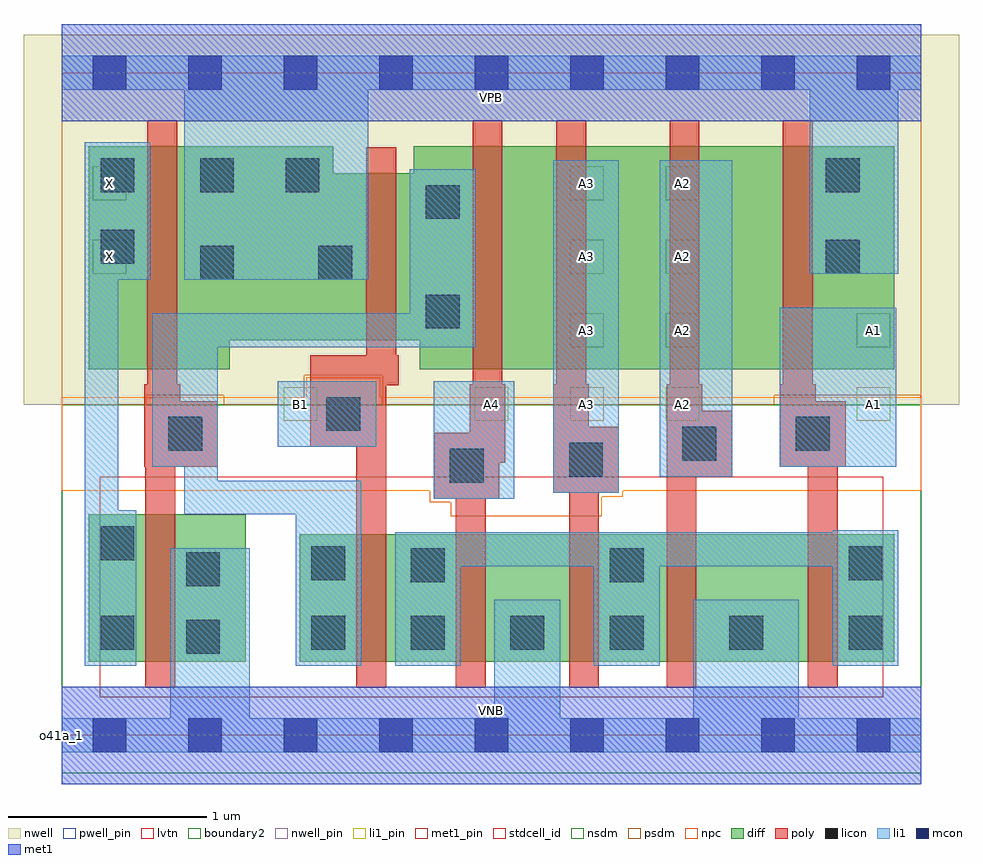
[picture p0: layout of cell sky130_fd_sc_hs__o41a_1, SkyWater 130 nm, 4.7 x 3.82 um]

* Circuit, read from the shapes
.subckt sky130_fd_sc_hs__o41a_1 A1 A2 A3 A4 B1 VGND VNB VPB VPWR X
XM1 VGND n1 X VNB sky130_fd_pr__nfet_01v8_lvt w=0.74 l=0.15
XM2 n2 B1 n1 VNB sky130_fd_pr__nfet_01v8_lvt w=0.64 l=0.15
XM3 VGND A4 n2 VNB sky130_fd_pr__nfet_01v8_lvt w=0.64 l=0.15
XM4 n2 A3 VGND VNB sky130_fd_pr__nfet_01v8_lvt w=0.64 l=0.15
XM5 VGND A2 n2 VNB sky130_fd_pr__nfet_01v8_lvt w=0.64 l=0.15
XM6 n2 A1 VGND VNB sky130_fd_pr__nfet_01v8_lvt w=0.64 l=0.15
XM7 VPWR n1 X VPB sky130_fd_pr__pfet_01v8 w=1.12 l=0.15
XM8 n1 B1 VPWR VPB sky130_fd_pr__pfet_01v8 w=0.84 l=0.15
XM9 n3 A4 n1 VPB sky130_fd_pr__pfet_01v8 w=1.12 l=0.15
XM10 n4 A3 n3 VPB sky130_fd_pr__pfet_01v8 w=1.12 l=0.15
XM11 n5 A2 n4 VPB sky130_fd_pr__pfet_01v8 w=1.12 l=0.15
XM12 VPWR A1 n5 VPB sky130_fd_pr__pfet_01v8 w=1.12 l=0.15
.ends

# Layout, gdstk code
import gdstk
lib = gdstk.Library(unit=1e-6, precision=1e-09)
def R(c, l, rs):  # rectangles x0, y0, x1, y1
    for r in rs: c.add(gdstk.rectangle(r[:2], r[2:], *l))
def A(c, l, x, y, w, h, nx, ny, dx, dy):  # array of equal rectangles
    R(c, l, [(x+i*dx, y+j*dy, x+i*dx+w, y+j*dy+h) for i in range(nx) for j in range(ny)])
def P(c, l, *ps):  # polygons
    for p in ps: c.add(gdstk.Polygon(p, *l))
nwell_pin = (64, 16)
nwell = (64, 20)
diff = (65, 20)
poly = (66, 20)
licon = (66, 44)
li1_pin = (67, 16)
li1 = (67, 20)
mcon = (67, 44)
met1_pin = (68, 16)
met1 = (68, 20)
stdcell_id = (81, 4)
nsdm = (93, 44)
psdm = (94, 20)
npc = (95, 20)
pwell_pin = (122, 16)
lvtn = (125, 44)
boundary2 = (236, 0)

sky130_fd_sc_hs__o41a_1 = lib.new_cell('sky130_fd_sc_hs__o41a_1')
R(sky130_fd_sc_hs__o41a_1, nwell_pin, [(0,3.085,4.32,3.33)])
R(sky130_fd_sc_hs__o41a_1, nwell, [(-0.19,1.66,4.51,3.52)])
R(sky130_fd_sc_hs__o41a_1, diff, [(0.135,0.37,0.925,1.11), (1.195,0.37,4.185,1.01)])
P(sky130_fd_sc_hs__o41a_1, diff, [(4.185,2.96),(1.77,2.96),(1.77,2.825),(1.365,2.825),(1.365,2.96),(0.135,2.96),(0.135,1.84),(0.845,1.84),(0.845,1.985),(1.8,1.985),(1.8,1.84),(4.185,1.84)])
P(sky130_fd_sc_hs__o41a_1, poly, [(3.94,1.68),(3.79,1.68),(3.79,1.765),(3.775,1.765),(3.775,3.09),(3.625,3.09),(3.625,1.765),(3.61,1.765),(3.61,1.35),(3.75,1.35),(3.75,0.24),(3.9,0.24),(3.9,1.35),(3.94,1.35)],
  [(3.37,1.63),(3.22,1.63),(3.22,1.765),(3.205,1.765),(3.205,3.09),(3.055,3.09),(3.055,1.765),(3.04,1.765),(3.04,0.24),(3.19,0.24),(3.19,1.3),(3.37,1.3)],
  [(2.8,1.55),(2.65,1.55),(2.65,1.765),(2.635,1.765),(2.635,3.09),(2.485,3.09),(2.485,1.765),(2.47,1.765),(2.47,1.22),(2.55,1.22),(2.55,0.24),(2.7,0.24),(2.7,1.22),(2.8,1.22)],
  [(2.23,1.765),(2.215,1.765),(2.215,3.09),(2.065,3.09),(2.065,1.765),(2.05,1.765),(2.05,1.52),(1.87,1.52),(1.87,1.19),(1.98,1.19),(1.98,0.24),(2.13,0.24),(2.13,1.19),(2.2,1.19),(2.2,1.37),(2.23,1.37)],
  [(1.695,1.91),(1.68,1.91),(1.68,2.955),(1.53,2.955),(1.53,1.91),(1.25,1.91),(1.25,1.45),(1.48,1.45),(1.48,0.24),(1.63,0.24),(1.63,1.76),(1.695,1.76)],
  [(0.785,1.68),(0.595,1.68),(0.595,1.765),(0.58,1.765),(0.58,3.09),(0.43,3.09),(0.43,1.765),(0.415,1.765),(0.415,1.35),(0.42,1.35),(0.42,0.24),(0.57,0.24),(0.57,1.35),(0.785,1.35)])
A(sky130_fd_sc_hs__o41a_1, licon, 1.255, 0.43, 0.17, 0.17, 4, 1, 0.5, 0)
R(sky130_fd_sc_hs__o41a_1, licon, [(0.625,0.41,0.795,0.58), (0.195,0.43,0.365,0.6), (3.355,0.43,3.525,0.6), (3.955,0.43,4.125,0.6), (0.625,0.75,0.795,0.92), (1.755,0.77,1.925,0.94), (2.755,0.77,2.925,0.94), (1.255,0.78,1.425,0.95), (3.955,0.78,4.125,0.95), (0.195,0.88,0.365,1.05), (1.95,1.27,2.12,1.44), (2.55,1.3,2.72,1.47), (3.12,1.38,3.29,1.55), (0.535,1.43,0.705,1.6), (3.69,1.43,3.86,1.6), (1.33,1.53,1.5,1.7), (1.83,2.045,2,2.215), (0.695,2.29,0.865,2.46), (1.29,2.29,1.46,2.46), (3.84,2.32,4.01,2.49), (0.195,2.37,0.365,2.54), (1.83,2.595,2,2.765), (0.195,2.73,0.365,2.9), (0.695,2.73,0.865,2.9), (1.125,2.73,1.295,2.9), (3.84,2.73,4.01,2.9)])
A(sky130_fd_sc_hs__o41a_1, li1_pin, 2.075, 1.58, 0.17, 0.17, 3, 1, 0.48, 0)
A(sky130_fd_sc_hs__o41a_1, li1_pin, 2.555, 1.95, 0.17, 0.17, 1, 3, 0, 0.37)
A(sky130_fd_sc_hs__o41a_1, li1_pin, 3.035, 1.95, 0.17, 0.17, 1, 3, 0, 0.37)
R(sky130_fd_sc_hs__o41a_1, li1_pin, [(1.115,1.58,1.285,1.75), (3.995,1.58,4.165,1.75), (3.995,1.95,4.165,2.12), (0.155,2.32,0.325,2.49), (0.155,2.69,0.325,2.86)])
R(sky130_fd_sc_hs__o41a_1, li1, [(1.87,1.19,2.275,1.78), (2.47,1.22,2.8,2.89), (3.005,1.3,3.37,2.89), (3.61,1.35,4.195,2.15), (1.085,1.45,1.58,1.78)])
P(sky130_fd_sc_hs__o41a_1, li1, [(0,-0.085),(0,0.085),(0.545,0.085),(0.545,0.94),(0.945,0.94),(0.945,0.085),(2.175,0.085),(2.175,0.68),(2.505,0.68),(2.505,0.085),(3.175,0.085),(3.175,0.68),(3.705,0.68),(3.705,0.085),(4.32,0.085),(4.32,-0.085)],
  [(0,3.245),(0,3.415),(4.32,3.415),(4.32,3.245),(4.205,3.245),(4.205,2.32),(3.76,2.32),(3.76,3.245),(1.54,3.245),(1.54,2.29),(0.615,2.29),(0.615,3.245)],
  [(0.115,2.98),(0.445,2.98),(0.445,2.29),(0.285,2.29),(0.285,1.13),(0.375,1.13),(0.375,0.35),(0.115,0.35)],
  [(0.615,1.11),(0.615,1.35),(0.455,1.35),(0.455,2.12),(1.75,2.12),(1.75,2.845),(2.08,2.845),(2.08,1.95),(0.785,1.95),(0.785,1.28),(1.505,1.28),(1.505,0.35),(1.175,0.35),(1.175,1.11)],
  [(2.675,0.35),(2.675,0.85),(2.005,0.85),(2.005,0.35),(1.675,0.35),(1.675,1.02),(3.875,1.02),(3.875,1.03),(4.205,1.03),(4.205,0.35),(3.875,0.35),(3.875,0.85),(3.005,0.85),(3.005,0.35)])
A(sky130_fd_sc_hs__o41a_1, mcon, 0.155, -0.085, 0.17, 0.17, 9, 2, 0.48, 3.33)
R(sky130_fd_sc_hs__o41a_1, met1_pin, [(0,0,4.32,0.245), (0,3.085,4.32,3.33)])
R(sky130_fd_sc_hs__o41a_1, met1, [(0,-0.245,4.32,0.245), (0,3.085,4.32,3.575)])
R(sky130_fd_sc_hs__o41a_1, stdcell_id, [(0,0,4.32,3.33)])
R(sky130_fd_sc_hs__o41a_1, nsdm, [(0,-0.19,4.32,1.66)])
P(sky130_fd_sc_hs__o41a_1, psdm, [(4.32,3.52),(0,3.52),(0,1.66),(0.425,1.66),(0.425,1.71),(0.815,1.71),(0.815,1.66),(1.22,1.66),(1.22,1.81),(1.61,1.81),(1.61,1.66),(3.58,1.66),(3.58,1.71),(4.32,1.71)])
P(sky130_fd_sc_hs__o41a_1, npc, [(4.32,1.7),(1.6,1.7),(1.6,1.8),(1.23,1.8),(1.23,1.7),(0,1.7),(0,1.23),(1.85,1.23),(1.85,1.17),(1.955,1.17),(1.955,1.1),(2.715,1.1),(2.715,1.2),(2.82,1.2),(2.82,1.23),(4.32,1.23)])
R(sky130_fd_sc_hs__o41a_1, pwell_pin, [(0,0,4.32,0.245)])
R(sky130_fd_sc_hs__o41a_1, lvtn, [(0.19,0.19,4.13,1.3)])
R(sky130_fd_sc_hs__o41a_1, boundary2, [(0,0,4.32,3.33)])
sky130_fd_sc_hs__o41a_1.add(gdstk.Label('o41a_1', (0,0), layer=83, texttype=44))
sky130_fd_sc_hs__o41a_1.add(gdstk.Label('VNB', (2.16,0.123), layer=64, texttype=59))
sky130_fd_sc_hs__o41a_1.add(gdstk.Label('VPB', (2.16,3.208), layer=64, texttype=5))
sky130_fd_sc_hs__o41a_1.add(gdstk.Label('VPWR', (2.16,3.208), layer=68, texttype=5))
sky130_fd_sc_hs__o41a_1.add(gdstk.Label('VGND', (2.16,0.123), layer=68, texttype=5))
sky130_fd_sc_hs__o41a_1.add(gdstk.Label('A4', (2.16,1.665), layer=67, texttype=5))
sky130_fd_sc_hs__o41a_1.add(gdstk.Label('B1', (1.2,1.665), layer=67, texttype=5))
sky130_fd_sc_hs__o41a_1.add(gdstk.Label('A1', (4.08,1.665), layer=67, texttype=5))
sky130_fd_sc_hs__o41a_1.add(gdstk.Label('A1', (4.08,2.035), layer=67, texttype=5))
sky130_fd_sc_hs__o41a_1.add(gdstk.Label('A3', (2.64,1.665), layer=67, texttype=5))
sky130_fd_sc_hs__o41a_1.add(gdstk.Label('A3', (2.64,2.035), layer=67, texttype=5))
sky130_fd_sc_hs__o41a_1.add(gdstk.Label('A3', (2.64,2.405), layer=67, texttype=5))
sky130_fd_sc_hs__o41a_1.add(gdstk.Label('A3', (2.64,2.775), layer=67, texttype=5))
sky130_fd_sc_hs__o41a_1.add(gdstk.Label('A2', (3.12,1.665), layer=67, texttype=5))
sky130_fd_sc_hs__o41a_1.add(gdstk.Label('A2', (3.12,2.035), layer=67, texttype=5))
sky130_fd_sc_hs__o41a_1.add(gdstk.Label('A2', (3.12,2.405), layer=67, texttype=5))
sky130_fd_sc_hs__o41a_1.add(gdstk.Label('A2', (3.12,2.775), layer=67, texttype=5))
sky130_fd_sc_hs__o41a_1.add(gdstk.Label('X', (0.24,2.405), layer=67, texttype=5))
sky130_fd_sc_hs__o41a_1.add(gdstk.Label('X', (0.24,2.775), layer=67, texttype=5))

lib.write_gds('sky130_fd_sc_hs__o41a_1.gds')
